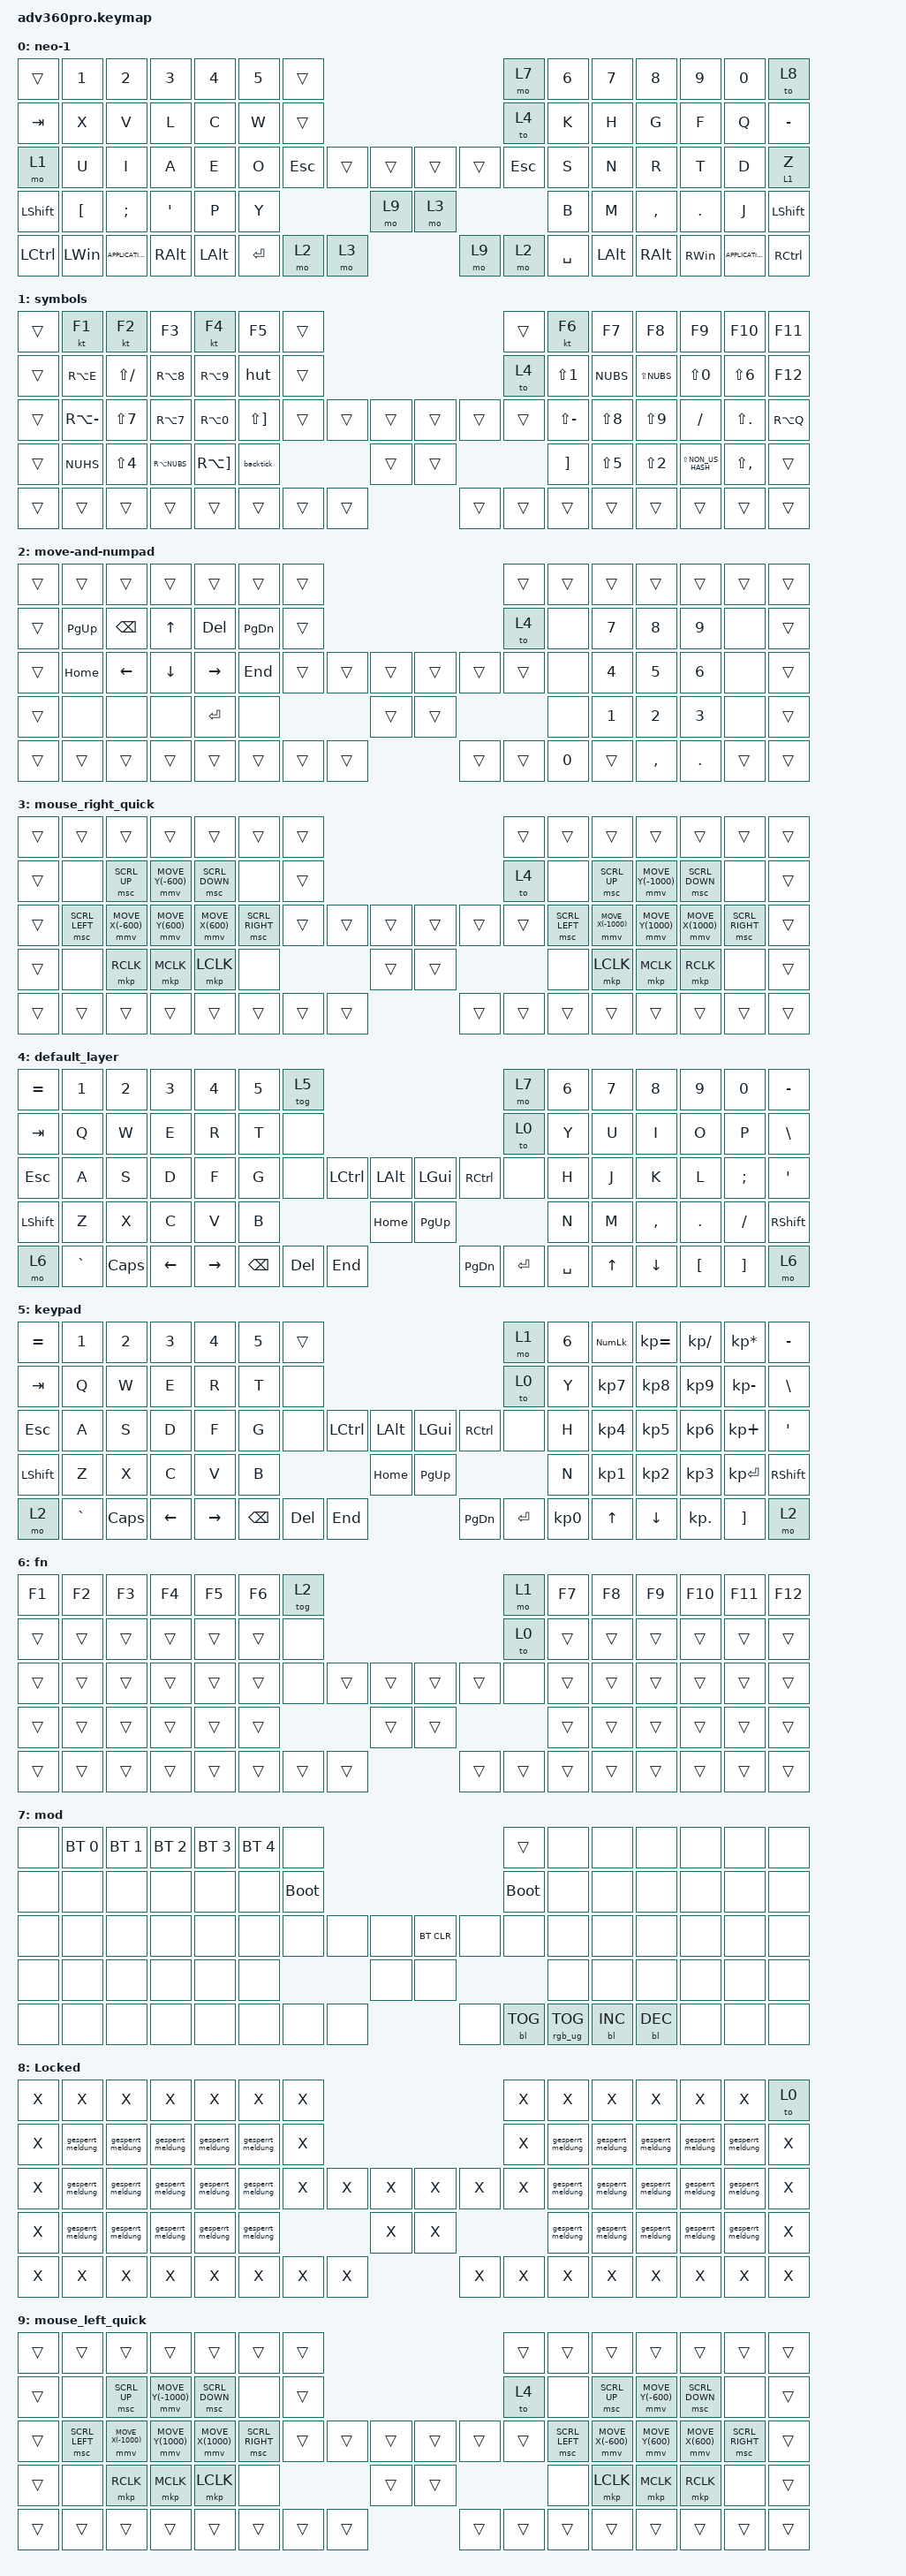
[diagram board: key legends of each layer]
#include <behaviors.dtsi>
#include <dt-bindings/zmk/backlight.h>
#include <dt-bindings/zmk/bt.h>
#include <dt-bindings/zmk/keys.h>
#include <dt-bindings/zmk/pointing.h>
#include <dt-bindings/zmk/rgb.h>

/ {
    macros {
        backtick: backtick {
            compatible = "zmk,behavior-macro";
            #binding-cells = <0>;
            bindings = <&kp LS(EQUAL) &kp SPACE>;
            label = "BACKTICK";
        };

        gesperrt_meldung: gesperrt_meldung {
            compatible = "zmk,behavior-macro";
            #binding-cells = <0>;
            bindings = <&kp LS(C) &kp O &kp M &kp P &kp U &kp T &kp E &kp R &kp SPACE &kp S &kp A &kp G &kp T &kp SPACE &kp N &kp E &kp I &kp N &kp EXCL &kp SPACE>;
            label = "GESPERRT_MELDUNG";
        };

        hut: hut {
            compatible = "zmk,behavior-macro";
            #binding-cells = <0>;
            bindings = <&kp GRAVE &kp SPACE>;
            label = "HUT";
        };
    };

    combos { compatible = "zmk,combos"; };

    behaviors {
        tap_key_or_hold_layer: tap_key_or_hold_layer {
            compatible = "zmk,behavior-hold-tap";
            label = "TAP_KEY_OR_HOLD_LAYER";
            bindings = <&mo>, <&kp>;

            #binding-cells = <2>;
            tapping-term-ms = <170>;
        };
    };

    keymap {
        compatible = "zmk,keymap";

        neo-1 {
            bindings = <
&trans     &kp N1            &kp N2             &kp N3            &kp N4        &kp N5  &trans                                                         &mo 7    &kp N6  &kp N7        &kp N8         &kp N9         &kp N0             &to 8
&kp TAB    &kp X             &kp V              &kp L             &kp C         &kp W   &trans                                                         &to 4    &kp K   &kp H         &kp G          &kp F          &kp Q              &kp MINUS
&mo 1      &kp U             &kp I              &kp A             &kp E         &kp O   &kp ESC           &trans  &trans    &trans  &trans             &kp ESC  &kp S   &kp N         &kp R          &kp T          &kp D              &tap_key_or_hold_layer 1 Z
&kp LSHFT  &kp LEFT_BRACKET  &kp SEMI           &kp SINGLE_QUOTE  &kp P         &kp Y                             &mo 9     &mo 3                               &kp B   &kp M         &kp COMMA      &kp DOT        &kp J              &kp LSHFT
&kp LCTRL  &kp LEFT_WIN      &kp K_APPLICATION  &kp RIGHT_ALT     &kp LEFT_ALT                   &kp RET  &mo 2   &mo 3     &mo 9   &mo 2   &kp SPACE                   &kp LEFT_ALT  &kp RIGHT_ALT  &kp RIGHT_WIN  &kp K_APPLICATION  &kp RCTRL
            >;
        };

        symbols {
            bindings = <
&trans  &kt F1         &kt F2            &kp F3            &kt F4                 &kp F5                 &trans                                                    &trans  &kt F6             &kp F7            &kp F8            &kp F9               &kp F10           &kp F11
&trans  &kp RA(E)      &kp LS(SLASH)     &kp RA(NUMBER_8)  &kp RA(NUMBER_9)       &hut                   &trans                                                    &to 4   &kp LS(NUMBER_1)   &kp NUBS          &kp LS(NUBS)      &kp LS(NUMBER_0)     &kp LS(NUMBER_6)  &kp F12
&trans  &kp RA(MINUS)  &kp LS(NUMBER_7)  &kp RA(NUMBER_7)  &kp RA(NUMBER_0)       &kp LS(RIGHT_BRACKET)  &trans          &trans  &trans    &trans  &trans          &trans  &kp LS(MINUS)      &kp LS(NUMBER_8)  &kp LS(NUMBER_9)  &kp SLASH            &kp LS(DOT)       &kp RA(Q)
&trans  &kp NUHS       &kp LS(NUMBER_4)  &kp RA(NUBS)      &kp RA(RIGHT_BRACKET)  &backtick                                      &trans    &trans                          &kp RIGHT_BRACKET  &kp LS(NUMBER_5)  &kp LS(NUMBER_2)  &kp LS(NON_US_HASH)  &kp LS(COMMA)     &trans
&trans  &trans         &trans            &trans            &trans                                                &trans  &trans  &trans    &trans  &trans  &trans                             &trans            &trans            &trans               &trans            &trans
            >;
        };

        move-and-numpad {
            bindings = <
&trans  &trans       &trans    &trans    &trans     &trans         &trans                                                    &trans  &trans  &trans  &trans     &trans   &trans  &trans
&trans  &kp PAGE_UP  &kp BSPC  &kp UP    &kp DEL    &kp PAGE_DOWN  &trans                                                    &to 4   &none   &kp N7  &kp N8     &kp N9   &none   &trans
&trans  &kp HOME     &kp LEFT  &kp DOWN  &kp RIGHT  &kp END        &trans          &trans  &trans    &trans  &trans          &trans  &none   &kp N4  &kp N5     &kp N6   &none   &trans
&trans  &none        &none     &none     &kp RET    &none                                  &trans    &trans                          &none   &kp N1  &kp N2     &kp N3   &none   &trans
&trans  &trans       &trans    &trans    &trans                            &trans  &trans  &trans    &trans  &trans  &kp N0                  &trans  &kp COMMA  &kp DOT  &trans  &trans
            >;
        };

        mouse_right_quick {
            bindings = <
&trans  &trans          &trans             &trans             &trans            &trans           &trans                                                    &trans  &trans          &trans              &trans              &trans             &trans           &trans
&trans  &none           &msc SCRL_UP       &mmv MOVE_Y(-600)  &msc SCRL_DOWN    &none            &trans                                                    &to 4   &none           &msc SCRL_UP        &mmv MOVE_Y(-1000)  &msc SCRL_DOWN     &none            &trans
&trans  &msc SCRL_LEFT  &mmv MOVE_X(-600)  &mmv MOVE_Y(600)   &mmv MOVE_X(600)  &msc SCRL_RIGHT  &trans          &trans  &trans    &trans  &trans          &trans  &msc SCRL_LEFT  &mmv MOVE_X(-1000)  &mmv MOVE_Y(1000)   &mmv MOVE_X(1000)  &msc SCRL_RIGHT  &trans
&trans  &none           &mkp RCLK          &mkp MCLK          &mkp LCLK         &none                                    &trans    &trans                          &none           &mkp LCLK           &mkp MCLK           &mkp RCLK          &none            &trans
&trans  &trans          &trans             &trans             &trans                                     &trans  &trans  &trans    &trans  &trans  &trans                          &trans              &trans              &trans             &trans           &trans
            >;
        };

        default_layer {
            bindings = <
&kp EQUAL  &kp N1     &kp N2    &kp N3    &kp N4     &kp N5  &tog 5                                                                    &mo 7  &kp N6  &kp N7  &kp N8     &kp N9    &kp N0    &kp MINUS
&kp TAB    &kp Q      &kp W     &kp E     &kp R      &kp T   &none                                                                     &to 0  &kp Y   &kp U   &kp I      &kp O     &kp P     &kp BSLH
&kp ESC    &kp A      &kp S     &kp D     &kp F      &kp G   &none             &kp LCTRL  &kp LALT    &kp LGUI   &kp RCTRL             &none  &kp H   &kp J   &kp K      &kp L     &kp SEMI  &kp SQT
&kp LSHFT  &kp Z      &kp X     &kp C     &kp V      &kp B                                &kp HOME    &kp PG_UP                               &kp N   &kp M   &kp COMMA  &kp DOT   &kp FSLH  &kp RSHFT
&mo 6      &kp GRAVE  &kp CAPS  &kp LEFT  &kp RIGHT                  &kp BSPC  &kp DEL    &kp END     &kp PG_DN  &kp ENTER  &kp SPACE                 &kp UP  &kp DOWN   &kp LBKT  &kp RBKT  &mo 6
            >;
        };

        keypad {
            bindings = <
&kp EQUAL  &kp N1     &kp N2    &kp N3    &kp N4     &kp N5  &trans                                                                    &mo 1  &kp N6  &kp KP_NUM  &kp KP_EQUAL  &kp KP_DIVIDE  &kp KP_MULTIPLY  &kp MINUS
&kp TAB    &kp Q      &kp W     &kp E     &kp R      &kp T   &none                                                                     &to 0  &kp Y   &kp KP_N7   &kp KP_N8     &kp KP_N9      &kp KP_MINUS     &kp BSLH
&kp ESC    &kp A      &kp S     &kp D     &kp F      &kp G   &none             &kp LCTRL  &kp LALT    &kp LGUI   &kp RCTRL             &none  &kp H   &kp KP_N4   &kp KP_N5     &kp KP_N6      &kp KP_PLUS      &kp SQT
&kp LSHFT  &kp Z      &kp X     &kp C     &kp V      &kp B                                &kp HOME    &kp PG_UP                               &kp N   &kp KP_N1   &kp KP_N2     &kp KP_N3      &kp KP_ENTER     &kp RSHFT
&mo 2      &kp GRAVE  &kp CAPS  &kp LEFT  &kp RIGHT                  &kp BSPC  &kp DEL    &kp END     &kp PG_DN  &kp ENTER  &kp KP_N0                 &kp UP      &kp DOWN      &kp KP_DOT     &kp RBKT         &mo 2
            >;
        };

        fn {
            bindings = <
&kp F1  &kp F2  &kp F3  &kp F4  &kp F5  &kp F6  &tog 2                                                    &mo 1  &kp F7  &kp F8  &kp F9  &kp F10  &kp F11  &kp F12
&trans  &trans  &trans  &trans  &trans  &trans  &none                                                     &to 0  &trans  &trans  &trans  &trans   &trans   &trans
&trans  &trans  &trans  &trans  &trans  &trans  &none           &trans  &trans    &trans  &trans          &none  &trans  &trans  &trans  &trans   &trans   &trans
&trans  &trans  &trans  &trans  &trans  &trans                          &trans    &trans                         &trans  &trans  &trans  &trans   &trans   &trans
&trans  &trans  &trans  &trans  &trans                  &trans  &trans  &trans    &trans  &trans  &trans                 &trans  &trans  &trans   &trans   &trans
            >;
        };

        mod {
            bindings = <
&none  &bt BT_SEL 0  &bt BT_SEL 1  &bt BT_SEL 2  &bt BT_SEL 3  &bt BT_SEL 4  &none                                                                        &trans       &none  &none       &none       &none  &none  &none
&none  &none         &none         &none         &none         &none         &bootloader                                                                  &bootloader  &none  &none       &none       &none  &none  &none
&none  &none         &none         &none         &none         &none         &none               &none  &none    &bt BT_CLR  &none                        &none        &none  &none       &none       &none  &none  &none
&none  &none         &none         &none         &none         &none                                    &none    &none                                                 &none  &none       &none       &none  &none  &none
&none  &none         &none         &none         &none                                    &none  &none  &none    &none       &bl BL_TOG  &rgb_ug RGB_TOG                      &bl BL_INC  &bl BL_DEC  &none  &none  &none
            >;
        };

        Locked {
            bindings = <
&kp X  &kp X              &kp X              &kp X              &kp X              &kp X              &kp X                                              &kp X  &kp X              &kp X              &kp X              &kp X              &kp X              &to 0
&kp X  &gesperrt_meldung  &gesperrt_meldung  &gesperrt_meldung  &gesperrt_meldung  &gesperrt_meldung  &kp X                                              &kp X  &gesperrt_meldung  &gesperrt_meldung  &gesperrt_meldung  &gesperrt_meldung  &gesperrt_meldung  &kp X
&kp X  &gesperrt_meldung  &gesperrt_meldung  &gesperrt_meldung  &gesperrt_meldung  &gesperrt_meldung  &kp X         &kp X  &kp X    &kp X  &kp X         &kp X  &gesperrt_meldung  &gesperrt_meldung  &gesperrt_meldung  &gesperrt_meldung  &gesperrt_meldung  &kp X
&kp X  &gesperrt_meldung  &gesperrt_meldung  &gesperrt_meldung  &gesperrt_meldung  &gesperrt_meldung                       &kp X    &kp X                       &gesperrt_meldung  &gesperrt_meldung  &gesperrt_meldung  &gesperrt_meldung  &gesperrt_meldung  &kp X
&kp X  &kp X              &kp X              &kp X              &kp X                                        &kp X  &kp X  &kp X    &kp X  &kp X  &kp X                            &kp X              &kp X              &kp X              &kp X              &kp X
            >;
        };

        mouse_left_quick {
            bindings = <
&trans  &trans          &trans              &trans              &trans             &trans           &trans                                                    &trans  &trans          &trans             &trans             &trans            &trans           &trans
&trans  &none           &msc SCRL_UP        &mmv MOVE_Y(-1000)  &msc SCRL_DOWN     &none            &trans                                                    &to 4   &none           &msc SCRL_UP       &mmv MOVE_Y(-600)  &msc SCRL_DOWN    &none            &trans
&trans  &msc SCRL_LEFT  &mmv MOVE_X(-1000)  &mmv MOVE_Y(1000)   &mmv MOVE_X(1000)  &msc SCRL_RIGHT  &trans          &trans  &trans    &trans  &trans          &trans  &msc SCRL_LEFT  &mmv MOVE_X(-600)  &mmv MOVE_Y(600)   &mmv MOVE_X(600)  &msc SCRL_RIGHT  &trans
&trans  &none           &mkp RCLK           &mkp MCLK           &mkp LCLK          &none                                    &trans    &trans                          &none           &mkp LCLK          &mkp MCLK          &mkp RCLK         &none            &trans
&trans  &trans          &trans              &trans              &trans                                      &trans  &trans  &trans    &trans  &trans  &trans                          &trans             &trans             &trans            &trans           &trans
            >;
        };
    };
};
